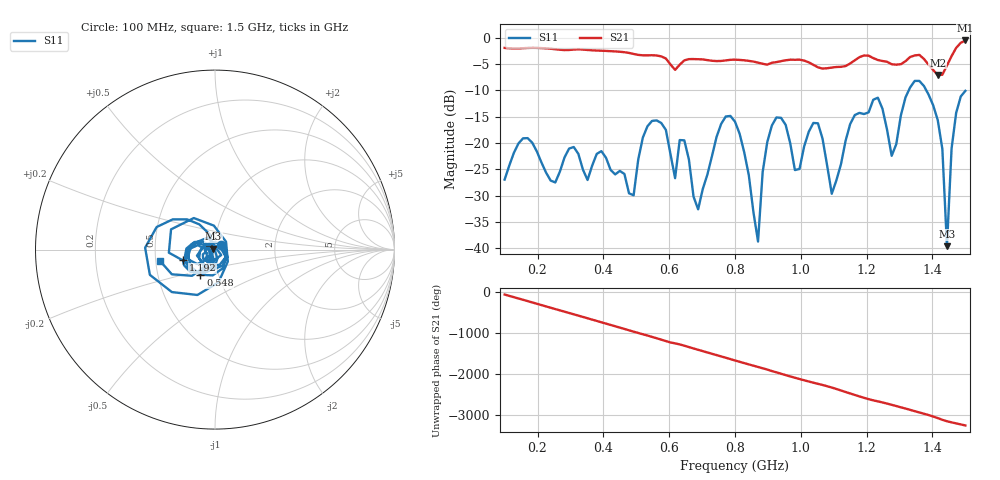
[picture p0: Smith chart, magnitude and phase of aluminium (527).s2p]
! NanoVNA-App
! Date: 2025-09-25 14:59:23
! Start: 100MHz Stop: 1,5GHz Points: 101
! S-Parameter data: F S11 S21 S12 S22
# Hz S RI R 50
!  Frequency  S11_Real  S11_Imag  S21_Real  S21_Imag  S12_Real  S12_Imag  S22_Real  S22_Imag
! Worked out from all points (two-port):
!   101 points, 100 MHz to 1.5 GHz, reference 50 ohm
!   highest |S21| = -0.50 dB at 1.5 GHz (marker M1); lowest = -7.1 dB at 1.416 GHz (marker M2)
!   |S21| within 3 dB of the highest: start of sweep to 573.5 MHz; 1.458 GHz to end of sweep (the widest 2 of 4)
!   lowest |S11| = -39.6 dB at 1.444 GHz (marker M3), VSWR 1.02, Z = 49.1 + j0.421 ohm
!   |S11| at or under -10 dB: start of sweep to 1.328 GHz; 1.381 GHz to end of sweep
!   S12 and S22 are empty: the file has one direction only
!   S11 on the Smith chart (normalised r, x): 100 MHz: 1.07, +0.06; 548 MHz: 0.82, -0.24; 1.192 GHz: 0.69, -0.08; 1.5 GHz: 0.53, -0.07
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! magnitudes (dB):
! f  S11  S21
! 100 MHz  -27.0  -1.9
! 156 MHz  -19.1  -2.0
! 338 MHz  -25.1  -2.2
! 492 MHz  -29.9  -3.1
! 548 MHz  -15.8  -3.3
! 576 MHz  -16.2  -3.5
! 646 MHz  -19.5  -4.3
! 688 MHz  -32.6  -4.1
! 800 MHz  -16.0  -4.2
! 870 MHz  -38.7  -4.7
! 912 MHz  -16.7  -4.7
! 982 MHz  -25.1  -4.2
! 1.038 GHz  -16.2  -5.1
! 1.094 GHz  -29.6  -5.7
! 1.192 GHz  -14.5  -3.4
! 1.234 GHz  -11.4  -4.2
! 1.276 GHz  -22.4  -5.0
! 1.346 GHz  -8.2  -3.4
! 1.416 GHz  -15.6  -7.1
! 1.444 GHz  -39.6  -5.3
! 1.458 GHz  -21.1  -3.5
! 1.5 GHz  -10.1  -0.5
